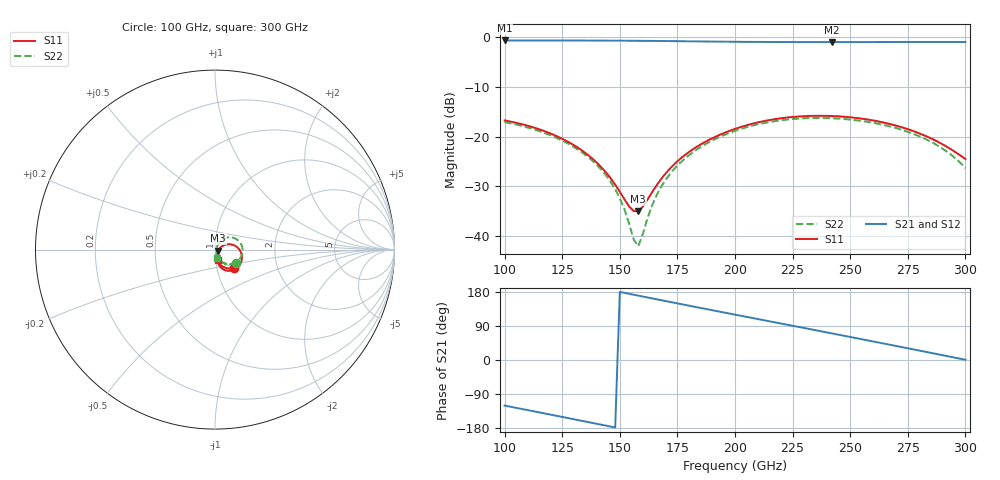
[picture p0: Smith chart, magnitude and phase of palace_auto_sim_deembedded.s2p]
! Created with skrf 1.11.0 (http://scikit-rf.org).
# GHz S DB R 50.0
!freq dBS11 angS11 dBS21 angS21 dBS12 angS12 dBS22 angS22
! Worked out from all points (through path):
!   101 points, 100 GHz to 300 GHz, reference 50 ohm
!   highest |S21| = -0.61 dB at 100 GHz (marker M1); lowest = -0.9 dB at 242 GHz (marker M2)
!   group delay of S21, straight-line fit = 3.31 ps
!   lowest |S11| = -35.0 dB at 158 GHz (marker M3), VSWR 1.04, Z = 51.7 - j0.554 ohm
!   |S11| at or under -10 dB: start of sweep to end of sweep
!   |S22| runs from -42.1 to -16.2 dB; largest |S21 - S12| = 1.6e-13
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100  -16.73 -43.7  -0.61 -120.3  -0.61 -120.3  -17.09 -32.0
118  -19.02 -62.2  -0.62 -141.8  -0.62 -141.8  -19.38 -49.4
134  -22.94 -75.4  -0.63 -161.1  -0.63 -161.1  -23.31 -63.5
142  -26.18 -78.0  -0.64 -170.8  -0.64 -170.8  -26.68 -68.6
148  -29.69 -73.5  -0.66 -178.0  -0.66 -178.0  -30.61 -69.2
152  -32.63 -61.9  -0.67 177.1  -0.67 177.1  -34.69 -63.7
154  -34.06 -50.7  -0.67 174.7  -0.67 174.7  -37.50 -55.0
156  -35.01 -35.2  -0.68 172.3  -0.68 172.3  -40.71 -35.1
158  -35.04 -17.6  -0.69 169.9  -0.69 169.9  -42.09 2.4
164  -31.23 16.7  -0.71 162.6  -0.71 162.6  -33.88 56.2
168  -28.52 24.0  -0.73 157.8  -0.73 157.8  -30.08 60.4
174  -25.41 26.2  -0.75 150.6  -0.75 150.6  -26.34 59.2
180  -23.11 24.2  -0.79 143.4  -0.79 143.4  -23.77 55.4
190  -20.36 17.2  -0.84 131.5  -0.84 131.5  -20.81 46.7
200  -18.45 8.2  -0.88 119.7  -0.88 119.7  -18.83 36.6
218  -16.44 -10.6  -0.93 98.6  -0.93 98.6  -16.84 16.9
234  -15.82 -27.8  -0.94 79.7  -0.94 79.7  -16.25 -0.7
242  -15.85 -36.3  -0.94 70.3  -0.94 70.3  -16.30 -9.5
254  -16.32 -48.5  -0.94 56.0  -0.94 56.0  -16.78 -22.8
268  -17.55 -61.7  -0.93 39.3  -0.93 39.3  -18.05 -38.4
286  -20.57 -74.3  -0.92 17.7  -0.92 17.7  -21.28 -58.7
300  -24.52 -73.6  -0.93 0.7  -0.93 0.7  -26.35 -75.3
